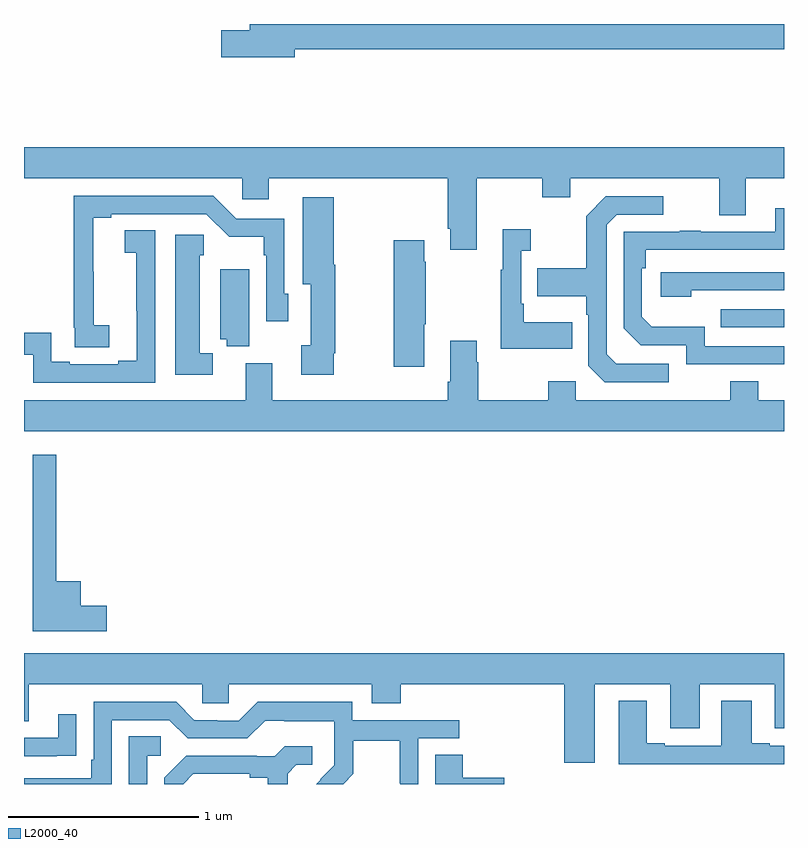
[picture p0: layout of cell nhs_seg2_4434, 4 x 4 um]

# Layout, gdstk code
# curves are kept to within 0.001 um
import gdstk
lib = gdstk.Library(unit=1e-6, precision=1e-09)
def R(c, l, rs):  # rectangles x0, y0, x1, y1
    for r in rs: c.add(gdstk.rectangle(r[:2], r[2:], *l))
def P(c, l, *ps):  # polygons
    for p in ps: c.add(gdstk.Polygon(p, *l))
L2000_40 = (2000, 40)

nhs_seg2_4434 = lib.new_cell('nhs_seg2_4434')
R(nhs_seg2_4434, L2000_40, [(354.667,628.203,355,628.299)])
P(nhs_seg2_4434, L2000_40, [(352.426,629.668),(355,629.668),(355,629.8),(352.187,629.8),(352.187,629.768),(352.038,629.768),(352.038,629.626),(352.426,629.626)],
  [(353.383,628.988),(353.728,628.988),(353.728,628.889),(353.875,628.889),(353.875,628.988),(354.659,628.988),(354.659,628.794),(354.799,628.794),(354.799,628.988),(355,628.988),(355,629.152),(351,629.152),(351,628.988),(352.149,628.988),(352.149,628.878),(352.288,628.878),(352.288,628.988),(353.231,628.988),(353.231,628.723),(353.243,628.723),(353.243,628.611),(353.383,628.611)],
  [(351.448,628.214),(351.366,628.214),(351.364,628.78),(351.46,628.78),(351.46,628.8),(351.96,628.8),(352.081,628.679),(352.263,628.679),(352.263,628.583),(352.275,628.583),(352.275,628.236),(352.392,628.236),(352.392,628.38),(352.371,628.38),(352.371,628.776),(352.116,628.776),(351.996,628.896),(351.262,628.896),(351.262,628.201),(351.268,628.201),(351.268,628.099),(351.448,628.099)],
  [(354.394,628.011),(354.117,628.011),(354.066,628.062),(354.066,628.743),(354.12,628.797),(354.364,628.797),(354.364,628.893),(354.063,628.893),(353.958,628.787),(353.958,628.515),(353.701,628.515),(353.701,628.367),(353.958,628.367),(353.958,628.271),(353.97,628.271),(353.97,628.002),(354.057,627.915),(354.394,627.915)],
  [(352.63,628.066),(352.638,628.066),(352.638,628.534),(352.63,628.534),(352.63,628.888),(352.466,628.888),(352.466,628.43),(352.508,628.43),(352.508,628.11),(352.458,628.11),(352.458,627.954),(352.63,627.954)],
  [(355,628.104),(354.582,628.104),(354.582,628.207),(354.305,628.207),(354.252,628.26),(354.252,628.514),(354.272,628.514),(354.272,628.611),(355,628.612),(355,628.831),(354.953,628.831),(354.953,628.707),(354.563,628.707),(354.563,628.712),(354.451,628.712),(354.451,628.707),(354.156,628.707),(354.156,628.2),(354.246,628.11),(354.486,628.11),(354.486,628.008),(355,628.008)],
  [(353.885,628.231),(353.629,628.231),(353.629,628.327),(353.616,628.327),(353.616,628.607),(353.668,628.607),(353.668,628.72),(353.519,628.72),(353.519,628.507),(353.508,628.507),(353.508,628.091),(353.885,628.091)],
  [(351.69,628.715),(351.531,628.715),(351.531,628.595),(351.592,628.595),(351.592,628.291),(351.593,628.291),(351.593,628.028),(351.497,628.028),(351.497,628.008),(351.241,628.008),(351.241,628.022),(351.144,628.022),(351.144,628.175),(351,628.175),(351,628.058),(351.048,628.058),(351.048,627.912),(351.69,627.912)],
  [(351.994,628.068),(351.925,628.068),(351.925,628.584),(351.947,628.584),(351.947,628.69),(351.797,628.69),(351.797,627.953),(351.994,627.953)],
  [(353.107,628.219),(353.115,628.219),(353.115,628.55),(353.107,628.55),(353.107,628.663),(352.945,628.663),(352.945,627.996),(353.107,627.996)],
  [(352.186,628.51),(352.034,628.51),(352.034,628.142),(352.066,628.142),(352.066,628.105),(352.186,628.105)],
  [(354.512,628.398),(355,628.398),(355,628.494),(354.351,628.494),(354.351,628.364),(354.512,628.364)],
  [(355,627.82),(354.865,627.82),(354.865,627.919),(354.718,627.919),(354.718,627.82),(353.904,627.82),(353.904,627.919),(353.758,627.919),(353.758,627.82),(353.391,627.82),(353.391,628.019),(353.383,628.019),(353.383,628.132),(353.243,628.132),(353.243,627.916),(353.231,627.916),(353.231,627.82),(352.306,627.82),(352.306,628.015),(352.166,628.015),(352.166,627.82),(351,627.82),(351,627.656),(355,627.656)],
  [(351.436,626.738),(351.298,626.738),(351.298,626.866),(351.169,626.866),(351.169,627.532),(351.047,627.532),(351.047,626.603),(351.436,626.603)],
  [(354.004,626.324),(354.401,626.324),(354.401,626.094),(354.556,626.094),(354.556,626.324),(354.95,626.324),(354.95,626.094),(355,626.094),(355,626.488),(351,626.488),(351,626.13),(351.025,626.13),(351.025,626.324),(351.939,626.324),(351.939,626.226),(352.077,626.226),(352.077,626.324),(352.829,626.324),(352.829,626.225),(352.982,626.225),(352.982,626.324),(353.843,626.324),(353.843,625.911),(354.004,625.911)],
  [(355,626.001),(354.925,626.001),(354.925,626.014),(354.829,626.014),(354.829,626.239),(354.671,626.239),(354.671,626.001),(354.373,626.001),(354.373,626.014),(354.277,626.014),(354.277,626.239),(354.131,626.239),(354.131,625.904),(355,625.904)],
  [(351.462,626.136),(351.765,626.136),(351.861,626.04),(352.176,626.04),(352.269,626.133),(352.369,626.133),(352.369,626.129),(352.632,626.129),(352.632,625.995),(352.634,625.995),(352.634,625.898),(352.56,625.824),(352.561,625.823),(352.538,625.8),(352.68,625.8),(352.733,625.853),(352.733,626.028),(352.978,626.028),(352.978,625.804),(352.98,625.804),(352.98,625.8),(353.076,625.8),(353.076,626.04),(353.29,626.04),(353.29,626.136),(352.728,626.136),(352.728,626.233),(352.231,626.233),(352.131,626.133),(352.016,626.133),(352.016,626.136),(351.897,626.136),(351.801,626.232),(351.366,626.232),(351.366,625.927),(351.353,625.927),(351.353,625.83),(351,625.83),(351,625.8),(351.462,625.8)],
  [(351.173,625.948),(351.275,625.948),(351.275,626.167),(351.179,626.167),(351.179,626.043),(351,626.043),(351,625.947),(351.173,625.947)],
  [(351.648,625.95),(351.721,625.95),(351.721,626.051),(351.552,626.051),(351.552,625.8),(351.648,625.8)],
  [(351.892,625.854),(352.187,625.854),(352.187,625.832),(352.283,625.832),(352.283,625.8),(352.387,625.8),(352.387,625.855),(352.434,625.902),(352.516,625.902),(352.516,625.999),(352.372,625.999),(352.32,625.947),(352.226,625.947),(352.226,625.95),(351.854,625.95),(351.738,625.834),(351.738,625.8),(351.838,625.8)],
  [(353.527,625.832),(353.309,625.832),(353.309,625.955),(353.165,625.955),(353.165,625.8),(353.527,625.8)])

lib.write_gds('nhs_seg2_4434.gds')
